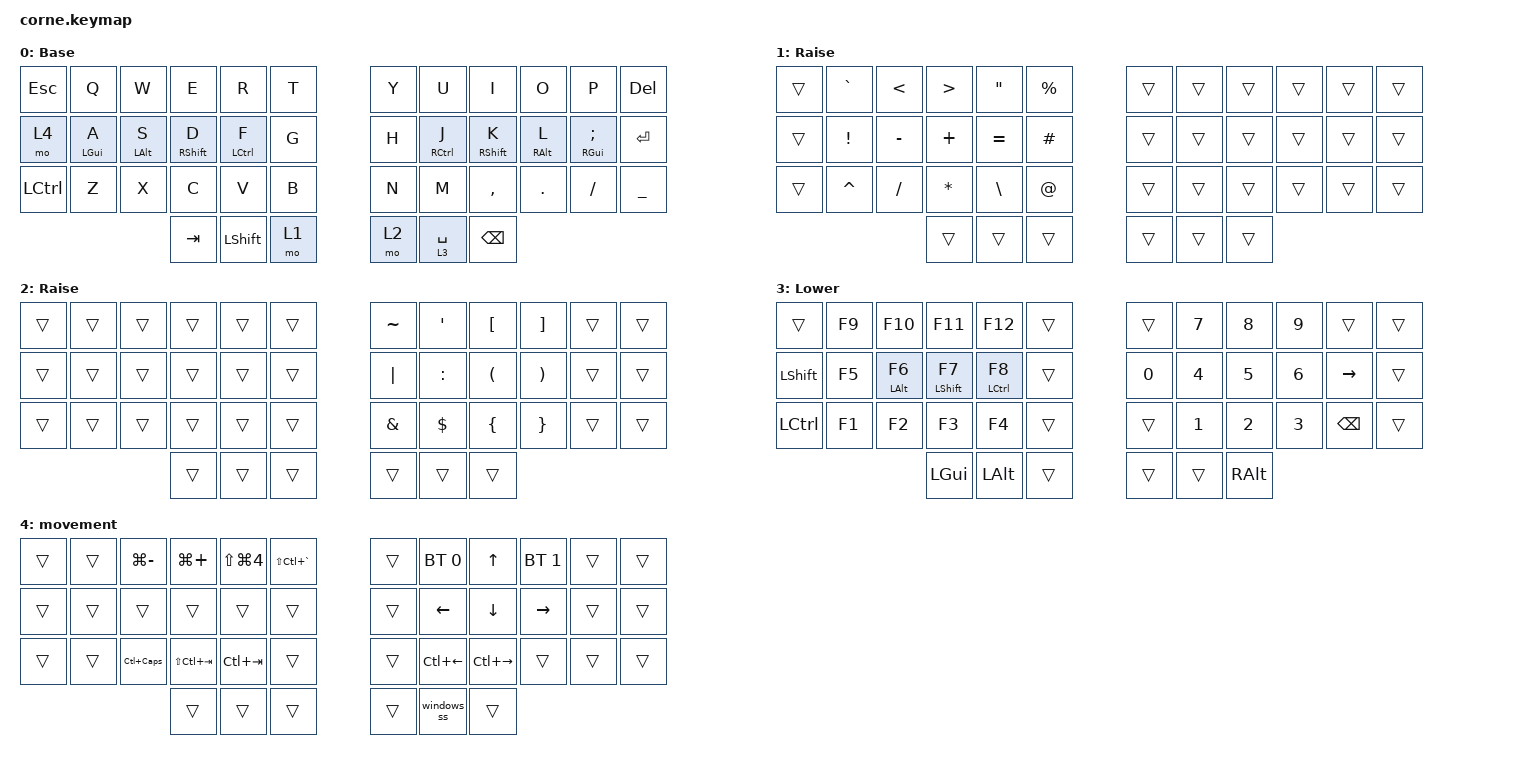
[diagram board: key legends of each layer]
/*
 * Copyright (c) 2020 The ZMK Contributors
 *
 * SPDX-License-Identifier: MIT
 */

#include <behaviors/num_word.dtsi>
#include <behaviors.dtsi>
#include <dt-bindings/zmk/bt.h>
#include <dt-bindings/zmk/keys.h>

/ {
    behaviors {
        tlhm: timerless_lhr_mods {
            compatible = "zmk,behavior-hold-tap";
            #binding-cells = <2>;
            flavor = "balanced";
            tapping-term-ms = <280>;
            quick-tap-ms = <175>;
            require-prior-idle-ms = <150>;
            bindings = <&kp>, <&kp>;

            hold-trigger-key-positions = <6 7 8 9 10 11 18 19 20 21 22 23 30 31 32 33 34 35>;
            hold-trigger-on-release;
        };

        trhm: timerless_rhr_mods {
            compatible = "zmk,behavior-hold-tap";
            #binding-cells = <2>;
            flavor = "balanced";
            tapping-term-ms = <280>;
            quick-tap-ms = <175>;
            require-prior-idle-ms = <150>;
            bindings = <&kp>, <&kp>;

            hold-trigger-key-positions = <0 1 2 3 4 5 12 13 14 15 16 17 24 25 26 27 28 29>;
            hold-trigger-on-release;
        };

        lhm: left_homerow_mods {
            compatible = "zmk,behavior-hold-tap";
            #binding-cells = <2>;
            flavor = "tap-unless-interrupted";
            tapping-term-ms = <100>;                        // <---[[produces tap if held longer than tapping-term-ms]]
            quick-tap-ms = <200>;
            bindings = <&kp>, <&kp>;

            hold-trigger-key-positions = <6 7 8 9 10 11 18 19 20 21 22 23 30 31 32 33 34 35>;
        };

        rhm: right_homerow_mods {
            compatible = "zmk,behavior-hold-tap";
            #binding-cells = <2>;
            flavor = "tap-unless-interrupted";
            tapping-term-ms = <100>;                        // <---[[produces tap if held longer than tapping-term-ms]]
            quick-tap-ms = <200>;
            bindings = <&kp>, <&kp>;

            hold-trigger-key-positions = <0 1 2 3 4 5 12 13 14 15 16 17 24 25 26 27 28 29>;
        };

        bhm: balanced_homerow_mods {
            compatible = "zmk,behavior-hold-tap";
            #binding-cells = <2>;
            tapping-term-ms = <200>;    // <---[[moderate duration]]
            quick-tap-ms = <0>;
            flavor = "balanced";
            bindings = <&kp>, <&kp>;
        };
    };

    macros {
        windows_ss: window_ss {
            compatible = "zmk,behavior-macro";
            #binding-cells = <0>;
            bindings =
                <&macro_press>,
                <&kp LSHFT &kp LEFT_GUI>,
                <&macro_tap>,
                <&kp S>,
                <&macro_release>,
                <&kp LSHFT &kp LEFT_GUI>;
        };

        clh: combo_layer_hybrid {
            compatible = "zmk,behavior-macro-two-param";
            #binding-cells = <2>;
            bindings =
                <&macro_param_1to1>,
                <&macro_press>,
                <&mo MACRO_PLACEHOLDER &macro_param_2to1>,
                <&macro_tap>,
                <&kp MACRO_PLACEHOLDER>,
                <&macro_pause_for_release>,
                <&macro_param_1to1>,
                <&macro_release>,
                <&mo MACRO_PLACEHOLDER>;
        };
    };

    combos {
        compatible = "zmk,combos";

        l_grave {
            bindings = <&clh 1 GRAVE>;
            key-positions = <1 38>;
        };

        l_lessthan {
            bindings = <&clh 1 LT>;
            key-positions = <2 38>;
        };

        l_greaterthan {
            bindings = <&clh 1 GT>;
            key-positions = <3 38>;
        };

        l_dquote {
            bindings = <&clh 1 DOUBLE_QUOTES>;
            key-positions = <4 38>;
        };

        l_percent {
            bindings = <&clh 1 PERCENT>;
            key-positions = <5 38>;
        };

        l_excl {
            bindings = <&clh 1 EXCL>;
            key-positions = <13 38>;
        };

        l_minus {
            bindings = <&clh 1 MINUS>;
            key-positions = <14 38>;
        };

        l_plus {
            bindings = <&clh 1 PLUS>;
            key-positions = <15 38>;
        };

        l_equal {
            bindings = <&clh 1 EQUAL>;
            key-positions = <16 38>;
        };

        l_hash {
            bindings = <&clh 1 POUND>;
            key-positions = <17 38>;
        };

        l_caret {
            bindings = <&clh 1 CARET>;
            key-positions = <25 38>;
        };

        l_slash {
            bindings = <&clh 1 SLASH>;
            key-positions = <26 38>;
        };

        l_star {
            bindings = <&clh 1 STAR>;
            key-positions = <27 38>;
        };

        l_backslash {
            bindings = <&clh 1 BACKSLASH>;
            key-positions = <28 38>;
        };

        l_at {
            bindings = <&clh 1 AT>;
            key-positions = <38 29>;
        };

        r_tilde {
            bindings = <&clh 2 TILDE>;
            key-positions = <6 39>;
        };

        l_lbkt {
            bindings = <&clh 2 LBKT>;
            key-positions = <8 39>;
        };

        r_rbkt {
            bindings = <&clh 2 RBKT>;
            key-positions = <9 39>;
        };

        r_pipe {
            bindings = <&clh 2 PIPE>;
            key-positions = <18 39>;
        };

        r_colon {
            bindings = <&clh 2 COLON>;
            key-positions = <19 39>;
        };

        l_lparen {
            bindings = <&clh 2 LEFT_PARENTHESIS>;
            key-positions = <20 39>;
        };

        r_rparen {
            bindings = <&clh 2 RIGHT_PARENTHESIS>;
            key-positions = <21 39>;
        };

        r_amps {
            bindings = <&clh 2 AMPS>;
            key-positions = <30 39>;
        };

        r_dollar {
            bindings = <&clh 2 DOLLAR>;
            key-positions = <31 39>;
        };

        r_lbrace {
            bindings = <&clh 2 LEFT_BRACE>;
            key-positions = <32 39>;
        };

        r_rbrace {
            bindings = <&clh 2 RIGHT_BRACE>;
            key-positions = <39 33>;
        };

        r_apos {
            bindings = <&clh 2 APOS>;
            key-positions = <7 39>;
        };

        n0 {
            bindings = <&clh 3 N0>;
            key-positions = <40 23>;
        };

        n1 {
            bindings = <&clh 3 NUMBER_1>;
            key-positions = <31 23>;
        };

        n2 {
            bindings = <&clh 3 NUMBER_2>;
            key-positions = <32 23>;
        };

        n3 {
            bindings = <&clh 3 NUMBER_3>;
            key-positions = <33 23>;
        };

        n4 {
            bindings = <&clh 3 NUMBER_4>;
            key-positions = <19 23>;
        };

        n5 {
            bindings = <&clh 3 N5>;
            key-positions = <20 23>;
        };

        n6 {
            bindings = <&clh 3 NUMBER_6>;
            key-positions = <21 23>;
        };

        n7 {
            bindings = <&clh 3 N7>;
            key-positions = <7 23>;
        };

        n8 {
            bindings = <&clh 3 N8>;
            key-positions = <8 23>;
        };

        n9 {
            bindings = <&clh 3 N9>;
            key-positions = <9 23>;
        };
    };

    keymap {
        compatible = "zmk,keymap";

        default_layer {
            // -----------------------------------------------------------------------------------------
            // |  TAB |  Q  |  W  |  E  |  R  |  T  |   |  Y  |  U   |  I  |  O  |  P  | BKSP |
            // | CTRL |  A  |  S  |  D  |  F  |  G  |   |  H  |  J   |  K  |  L  |  ;  |  '   |
            // | SHFT |  Z  |  X  |  C  |  V  |  B  |   |  N  |  M   |  ,  |  .  |  /  | ESC  |
            //                    | GUI | LWR | SPC |   | ENT | RSE  | ALT |

            display-name = "Base";
            bindings = <
&kp ESCAPE  &kp Q         &kp W         &kp E           &kp R          &kp T    &kp Y  &kp U          &kp I           &kp O         &kp P            &kp DEL
&mo 4       &tlhm LGUI A  &tlhm LALT S  &tlhm RSHIFT D  &tlhm LCTRL F  &kp G    &kp H  &trhm RCTRL J  &trhm RSHIFT K  &trhm RALT L  &trhm RGUI SEMI  &kp ENTER
&kp LCTRL   &kp Z         &kp X         &kp C           &kp V          &kp B    &kp N  &kp M          &kp COMMA       &kp DOT       &kp FSLH         &kp UNDER
                                        &kp TAB         &kp LSHIFT     &mo 1    &mo 2  &lt 3 SPACE    &kp BACKSPACE
            >;
        };

        symbol_left {
            // -----------------------------------------------------------------------------------------
            // |  TAB |  !  |  @  |  #  |  $  |  %  |   |  ^  |  &  |  *  |  (  |  )  | BKSP |
            // | CTRL |     |     |     |     |     |   |  -  |  =  |  [  |  ]  |  \  |  `   |
            // | SHFT |     |     |     |     |     |   |  _  |  +  |  {  |  }  | "|" |  ~   |
            //                    | GUI |     | SPC |   | ENT |     | ALT |

            display-name = "Raise";
            bindings = <
&trans  &kp GRAVE  &kp LT     &kp GT    &kp DQT    &kp PRCNT    &trans  &trans  &trans  &trans  &trans  &trans
&trans  &kp EXCL   &kp MINUS  &kp PLUS  &kp EQUAL  &kp POUND    &trans  &trans  &trans  &trans  &trans  &trans
&trans  &kp CARET  &kp FSLH   &kp STAR  &kp BSLH   &kp AT       &trans  &trans  &trans  &trans  &trans  &trans
                              &trans    &trans     &trans       &trans  &trans  &trans
            >;
        };

        symbol_right {
            display-name = "Raise";
            bindings = <
&trans  &trans  &trans  &trans  &trans  &trans    &kp TILDE  &kp APOS   &kp LBKT  &kp RBKT  &trans  &trans
&trans  &trans  &trans  &trans  &trans  &trans    &kp PIPE   &kp COLON  &kp LPAR  &kp RPAR  &trans  &trans
&trans  &trans  &trans  &trans  &trans  &trans    &kp AMPS   &kp DLLR   &kp LBRC  &kp RBRC  &trans  &trans
                        &trans  &trans  &trans    &trans     &trans     &trans
            >;
        };

        number {
            // -----------------------------------------------------------------------------------------
            // |  TAB |  1  |  2  |  3  |  4  |  5  |   |  6  |  7  |  8  |  9  |  0  | BKSP |
            // | BTCLR| BT1 | BT2 | BT3 | BT4 | BT5 |   | LFT | DWN |  UP | RGT |     |      |
            // | SHFT |     |     |     |     |     |   |     |     |     |     |     |      |
            //                    | GUI |     | SPC |   | ENT |     | ALT |

            display-name = "Lower";
            bindings = <
&trans      &kp F9  &kp F10       &kp F11        &kp F12        &trans    &trans  &kp N7        &kp N8    &kp N9  &trans         &trans
&kp LSHIFT  &kp F5  &bhm LALT F6  &bhm LSHFT F7  &bhm LCTRL F8  &trans    &kp N0  &kp NUMBER_4  &kp N5    &kp N6  &kp RIGHT      &trans
&kp LCTRL   &kp F1  &kp F2        &kp F3         &kp F4         &trans    &trans  &kp N1        &kp N2    &kp N3  &kp BACKSPACE  &trans
                                  &kp LGUI       &kp LALT       &trans    &trans  &trans        &kp RALT
            >;
        };

        movement {
            bindings = <
&trans  &trans  &kp LG(MINUS)     &kp LG(PLUS)     &kp LS(LG(NUMBER_4))  &kp LS(LC(GRAVE))    &trans  &bt BT_SEL 0  &kp UP_ARROW   &bt BT_SEL 1  &trans  &trans
&trans  &trans  &trans            &trans           &trans                &trans               &trans  &kp LEFT      &kp DOWN       &kp RIGHT     &trans  &trans
&trans  &trans  &kp LC(CAPSLOCK)  &kp LS(LC(TAB))  &kp LC(TAB)           &trans               &trans  &kp LC(LEFT)  &kp LC(RIGHT)  &trans        &trans  &trans
                                  &trans           &trans                &trans               &trans  &windows_ss   &trans
            >;
        };
    };
};
